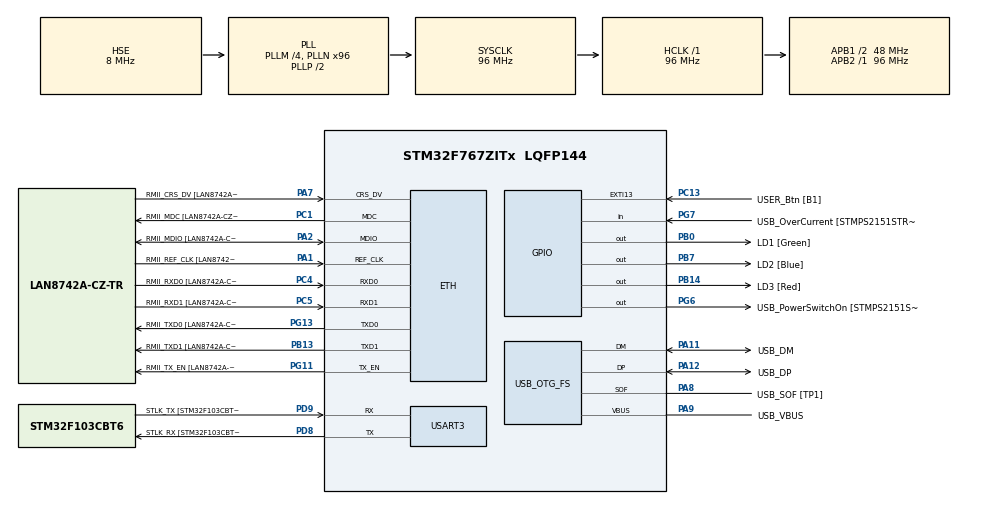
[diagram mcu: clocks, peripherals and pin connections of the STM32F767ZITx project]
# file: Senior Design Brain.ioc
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ETH.MediaInterface=HAL_ETH_RMII_MODE
ETH.PHY_Name=LAN8742A_PHY_ADDRESS
ETH.PHY_Value=0
ETH.PhyAddress=0
Mcu.Family=STM32F7
Mcu.Name=STM32F767ZITx
Mcu.Package=LQFP144
NVIC.EXTI15_10_IRQn=true\:0\:0\:false\:false\:true\:true\:true\:true
NVIC.PriorityGroup=NVIC_PRIORITYGROUP_4
PA1.GPIO_Label=RMII_REF_CLK [LAN8742A-CZ-TR_REFCLK0]
PA1.Mode=RMII
PA1.Signal=ETH_REF_CLK
PA10.GPIO_Label=USB_ID
PA10.Signal=USB_OTG_FS_ID
PA11.GPIO_Label=USB_DM
PA11.Mode=Device_Only
PA11.Signal=USB_OTG_FS_DM
PA12.GPIO_Label=USB_DP
PA12.Mode=Device_Only
PA12.Signal=USB_OTG_FS_DP
PA13.GPIO_Label=TMS
PA13.Mode=Serial_Wire
PA13.Signal=SYS_JTMS-SWDIO
PA14.GPIO_Label=TCK
PA14.Mode=Serial_Wire
PA14.Signal=SYS_JTCK-SWCLK
PA2.GPIO_Label=RMII_MDIO [LAN8742A-CZ-TR_MDIO]
PA2.Mode=RMII
PA2.Signal=ETH_MDIO
PA7.GPIO_Label=RMII_CRS_DV [LAN8742A-CZ-TR_CRS_DV]
PA7.Mode=RMII
PA7.Signal=ETH_CRS_DV
PA8.GPIO_Label=USB_SOF [TP1]
PA8.Mode=Activate_SOF_FS
PA8.Signal=USB_OTG_FS_SOF
PA9.GPIO_Label=USB_VBUS
PA9.Mode=Activate_VBUS
PA9.Signal=USB_OTG_FS_VBUS
PB0.GPIO_Label=LD1 [Green]
PB0.Signal=GPIO_Output
PB13.GPIO_Label=RMII_TXD1 [LAN8742A-CZ-TR_TXD1]
PB13.Mode=RMII
PB13.Signal=ETH_TXD1
PB14.GPIO_Label=LD3 [Red]
PB14.Signal=GPIO_Output
PB3.GPIO_Label=SWO
PB3.Signal=SYS_JTDO-SWO
PB7.GPIO_Label=LD2 [Blue]
PB7.Signal=GPIO_Output
PC1.GPIO_Label=RMII_MDC [LAN8742A-CZ-TR_MDC]
PC1.Mode=RMII
PC1.Signal=ETH_MDC
PC13.GPIO_Label=USER_Btn [B1]
PC13.GPIO_ModeDefaultEXTI=GPIO_MODE_IT_RISING_FALLING
PC13.Signal=GPXTI13
PC14/OSC32_IN.Mode=LSE-External-Oscillator
PC14/OSC32_IN.Signal=RCC_OSC32_IN
PC15/OSC32_OUT.Mode=LSE-External-Oscillator
PC15/OSC32_OUT.Signal=RCC_OSC32_OUT
PC4.GPIO_Label=RMII_RXD0 [LAN8742A-CZ-TR_RXD0]
PC4.Mode=RMII
PC4.Signal=ETH_RXD0
PC5.GPIO_Label=RMII_RXD1 [LAN8742A-CZ-TR_RXD1]
PC5.Mode=RMII
PC5.Signal=ETH_RXD1
PD8.GPIO_Label=STLK_RX [STM32F103CBT6_PA3]
PD8.Mode=Asynchronous
PD8.Signal=USART3_TX
PD9.GPIO_Label=STLK_TX [STM32F103CBT6_PA2]
PD9.Mode=Asynchronous
PD9.Signal=USART3_RX
PG11.GPIO_Label=RMII_TX_EN [LAN8742A-CZ-TR_TXEN]
PG11.Mode=RMII
PG11.Signal=ETH_TX_EN
PG13.GPIO_Label=RMII_TXD0 [LAN8742A-CZ-TR_TXD0]
PG13.Mode=RMII
PG13.Signal=ETH_TXD0
PG6.GPIO_Label=USB_PowerSwitchOn [STMPS2151STR_EN]
PG6.Signal=GPIO_Output
PG7.GPIO_Label=USB_OverCurrent [STMPS2151STR_FAULT]
PG7.Signal=GPIO_Input
PH0/OSC_IN.GPIO_Label=MCO [STM32F103CBT6_PA8]
PH0/OSC_IN.Mode=HSE-External-Clock-Source
PH0/OSC_IN.Signal=RCC_OSC_IN
PH1/OSC_OUT.Mode=HSE-External-Clock-Source
PH1/OSC_OUT.Signal=RCC_OSC_OUT
ProjectManager.HeapSize=0x200
ProjectManager.StackSize=0x400
ProjectManager.TargetToolchain=STM32CubeIDE
RCC.48MHZClocksFreq_Value=24000000
RCC.AHBFreq_Value=96000000
RCC.APB1CLKDivider=RCC_HCLK_DIV2
RCC.APB1Freq_Value=48000000
RCC.APB1TimFreq_Value=96000000
RCC.APB2Freq_Value=96000000
RCC.APB2TimFreq_Value=96000000
RCC.CortexFreq_Value=96000000
RCC.HCLKFreq_Value=96000000
RCC.HSE_VALUE=8000000
RCC.HSI_VALUE=16000000
RCC.PLLM=4
RCC.PLLMUL=RCC_PLL_MUL9
RCC.PLLN=96
RCC.PLLQ=4
RCC.PRESCALERUSB=RCC_USBCLKSOURCE_PLL_DIV1_5
RCC.SYSCLKFreq_VALUE=96000000
RCC.SYSCLKSource=RCC_SYSCLKSOURCE_PLLCLK
RCC.SYSCLKSourceVirtual=RCC_SYSCLKSOURCE_PLLCLK
RCC.USBFreq_Value=48000000
RCC.VCOOutputFreq_Value=192000000
USART3.VirtualMode-Asynchronous=VM_ASYNC
USB_OTG_FS.VirtualMode=Device_Only
board=NUCLEO-F767ZI

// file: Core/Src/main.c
/* USER CODE BEGIN Header */
/**
  ******************************************************************************
  * @file           : main.c
  * @brief          : Main program body
  ******************************************************************************
  * @attention
  *
  * Copyright (c) 2023 STMicroelectronics.
  * All rights reserved.
  *
  * This software is licensed under terms that can be found in the LICENSE file
  * in the root directory of this software component.
  * If no LICENSE file comes with this software, it is provided AS-IS.
  *
  ******************************************************************************
  */
/* USER CODE END Header */
#include "main.h"
#include "string.h"

/* USER CODE BEGIN Includes */
#include "location.h"
#include "stdio.h"
#include "test.h"

/* USER CODE END Includes */

/* USER CODE BEGIN PD */

#ifndef bool
#define bool int
#endif

#ifndef true
#define true 1
#endif

#ifndef false
#define false 0
#endif

#define BUTTONS 0
#define ALIASES 1
#define OUTPUTS 2
#define CUR_LOC 3
#define QUIT 4

//Enables scanf and printf to work
#ifdef __GNUC__
#define PUTCHAR_PROTOTYPE int __io_putchar(int ch)
#define GETCHAR_PROTOTYPE int __io_getchar(void)
#else
#define PUTCHAR_PROTOTYPE int fputc(int ch, FILE *f)
#define GETCHAR_PROTOTYPE int fgetc(FILE *f)
#endif

extern UART_HandleTypeDef huart3;

PUTCHAR_PROTOTYPE
{
  HAL_UART_Transmit(&huart3, (uint8_t *)&ch, 1, HAL_MAX_DELAY);
  return ch;
}

GETCHAR_PROTOTYPE
{
  uint8_t ch = 0;

  /* Clear the Overrun flag just before receiving the first character */
  __HAL_UART_CLEAR_OREFLAG(&huart3);

  /* Wait for reception of a character on the USART RX line and echo this
   * character on console */
  HAL_UART_Receive(&huart3, (uint8_t *)&ch, 1, HAL_MAX_DELAY);
  HAL_UART_Transmit(&huart3, (uint8_t *)&ch, 1, HAL_MAX_DELAY);
  return ch;
}

/* USER CODE END PD */

#if defined ( __ICCARM__ ) /*!< IAR Compiler */
#pragma location=0x2007c000
ETH_DMADescTypeDef  DMARxDscrTab[ETH_RX_DESC_CNT]; /* Ethernet Rx DMA Descriptors */
#pragma location=0x2007c0a0
ETH_DMADescTypeDef  DMATxDscrTab[ETH_TX_DESC_CNT]; /* Ethernet Tx DMA Descriptors */

#elif defined ( __CC_ARM )  /* MDK ARM Compiler */

__attribute__((at(0x2007c000))) ETH_DMADescTypeDef  DMARxDscrTab[ETH_RX_DESC_CNT]; /* Ethernet Rx DMA Descriptors */
__attribute__((at(0x2007c0a0))) ETH_DMADescTypeDef  DMATxDscrTab[ETH_TX_DESC_CNT]; /* Ethernet Tx DMA Descriptors */

#elif defined ( __GNUC__ ) /* GNU Compiler */
ETH_DMADescTypeDef DMARxDscrTab[ETH_RX_DESC_CNT] __attribute__((section(".RxDecripSection"))); /* Ethernet Rx DMA Descriptors */
ETH_DMADescTypeDef DMATxDscrTab[ETH_TX_DESC_CNT] __attribute__((section(".TxDecripSection")));   /* Ethernet Tx DMA Descriptors */

#endif

ETH_TxPacketConfig TxConfig;

ETH_HandleTypeDef heth;

UART_HandleTypeDef huart3;

PCD_HandleTypeDef hpcd_USB_OTG_FS;

/* USER CODE BEGIN PV */

int test_state = -1;

/* USER CODE END PV */

void SystemClock_Config(void);
static void MX_GPIO_Init(void);
static void MX_ETH_Init(void);
static void MX_USART3_UART_Init(void);
static void MX_USB_OTG_FS_PCD_Init(void);

int main(void)
{

  /* MCU Configuration--------------------------------------------------------*/

  /* Reset of all peripherals, Initializes the Flash interface and the Systick. */
  HAL_Init();

  /* USER CODE BEGIN Init */

  char ch;
  char buffer[100];
  /* USER CODE END Init */

  /* Configure the system clock */
  SystemClock_Config();

  /* Initialize all configured peripherals */
  MX_GPIO_Init();
  MX_ETH_Init();
  MX_USART3_UART_Init();
  MX_USB_OTG_FS_PCD_Init();
  /* USER CODE BEGIN 2 */

  //Enables scanf and printf to work
  setvbuf(stdin, NULL, _IONBF, 0);

  /* USER CODE END 2 */

  /* Infinite loop */
  /* USER CODE BEGIN WHILE */
  while (1)
  {

	  printf("\n\n\rWhat would you like to test?");
	  printf("\n\rType:"
			 "\n\ra for Aliases"
			 "\n\rb for Buttons"
			 "\n\rc for Current Location"
			 "\n\ro for Output"
			 "\n\rq to Quit"
			 "\n\r: ");
	  scanf("%c", &ch);
	  if(ch == 'a'){
		 strcpy(buffer, "ALIASES");
		 test_state = ALIASES;
	  }
	  else if(ch == 'b'){
		 strcpy(buffer, "BUTTONS");
		 test_state = BUTTONS;
	  }
	  else if(ch == 'c'){
		 strcpy(buffer, "CUR_LOC");
		 test_state = CUR_LOC;
	  }
	  else if(ch == 'o'){
		 strcpy(buffer, "OUTPUTS");
		 test_state = OUTPUTS;
	  }
	  else if(ch == 'q'){
		 strcpy(buffer, "QUIT");
		 test_state = QUIT;
	  }
	  else{
		 strcpy(buffer, "NONE");
		 test_state = -1;
	  }

	  printf("\n\rYou selected %s", buffer);

	  if(test_state == ALIASES){
		  do{
			  printf("\n\n\rTo test ALIASES, please type in the name of a location you would like to navigate to.");
			  printf("\n\rWe will do our best to match it to an actual building\n\r");
			  scanf("%99s", buffer);
			  test_aliasing(buffer);
			  scanf("%c", &ch);
			  printf("\n\rPress r to try again or any other key to exit: ");
			  scanf("%c", &ch);
		  }while(ch == 'r');
	  }
	  else if(test_state == BUTTONS){
		  printf("\n\n\rTo test BUTTONS, please press the user button.");
		  printf("\n\rPress any key to exit");
		  scanf("%c", &ch);
	  }
	  else if(test_state == CUR_LOC){
		  printf("\n\n\rTo test CUR_LOC, please press any key to display the current location.");
		  scanf("%c", &ch);
		  printf("\n\rYour current location is the Electrical Engineering Building");
	  }
	  else if(test_state == OUTPUTS){
		  printf("\n\n\rTo test OUTPUTS, please press any key.");
		  scanf("%c", &ch);
		  printf("\n\rNow playing sample output.");
		  test_output();
		  printf("\n\rPress any key to exit");
		  scanf("%c", &ch);
	  }
	  else if(test_state == QUIT){
		  break;
	  }
	  else{
		  printf("\n\n\rSorry, what you selected isn't an option. Please try again.");
	  }
    /* USER CODE END WHILE */

    /* USER CODE BEGIN 3 */
  }

  printf("\n\rExiting Brain Subsytem Tests\n\r");
  /* USER CODE END 3 */
}

void SystemClock_Config(void)
{
  RCC_OscInitTypeDef RCC_OscInitStruct = {0};
  RCC_ClkInitTypeDef RCC_ClkInitStruct = {0};

  /** Configure LSE Drive Capability
  */
  HAL_PWR_EnableBkUpAccess();

  /** Configure the main internal regulator output voltage
  */
  __HAL_RCC_PWR_CLK_ENABLE();
  __HAL_PWR_VOLTAGESCALING_CONFIG(PWR_REGULATOR_VOLTAGE_SCALE3);

  /** Initializes the RCC Oscillators according to the specified parameters
  * in the RCC_OscInitTypeDef structure.
  */
  RCC_OscInitStruct.OscillatorType = RCC_OSCILLATORTYPE_HSE;
  RCC_OscInitStruct.HSEState = RCC_HSE_BYPASS;
  RCC_OscInitStruct.PLL.PLLState = RCC_PLL_ON;
  RCC_OscInitStruct.PLL.PLLSource = RCC_PLLSOURCE_HSE;
  RCC_OscInitStruct.PLL.PLLM = 4;
  RCC_OscInitStruct.PLL.PLLN = 96;
  RCC_OscInitStruct.PLL.PLLP = RCC_PLLP_DIV2;
  RCC_OscInitStruct.PLL.PLLQ = 4;
  RCC_OscInitStruct.PLL.PLLR = 2;
  if (HAL_RCC_OscConfig(&RCC_OscInitStruct) != HAL_OK)
  {
    Error_Handler();
  }

  /** Activate the Over-Drive mode
  */
  if (HAL_PWREx_EnableOverDrive() != HAL_OK)
  {
    Error_Handler();
  }

  /** Initializes the CPU, AHB and APB buses clocks
  */
  RCC_ClkInitStruct.ClockType = RCC_CLOCKTYPE_HCLK|RCC_CLOCKTYPE_SYSCLK
                              |RCC_CLOCKTYPE_PCLK1|RCC_CLOCKTYPE_PCLK2;
  RCC_ClkInitStruct.SYSCLKSource = RCC_SYSCLKSOURCE_PLLCLK;
  RCC_ClkInitStruct.AHBCLKDivider = RCC_SYSCLK_DIV1;
  RCC_ClkInitStruct.APB1CLKDivider = RCC_HCLK_DIV2;
  RCC_ClkInitStruct.APB2CLKDivider = RCC_HCLK_DIV1;

  if (HAL_RCC_ClockConfig(&RCC_ClkInitStruct, FLASH_LATENCY_3) != HAL_OK)
  {
    Error_Handler();
  }
}

static void MX_ETH_Init(void)
{

   static uint8_t MACAddr[6];

  heth.Instance = ETH;
  MACAddr[0] = 0x00;
  MACAddr[1] = 0x80;
  MACAddr[2] = 0xE1;
  MACAddr[3] = 0x00;
  MACAddr[4] = 0x00;
  MACAddr[5] = 0x00;
  heth.Init.MACAddr = &MACAddr[0];
  heth.Init.MediaInterface = HAL_ETH_RMII_MODE;
  heth.Init.TxDesc = DMATxDscrTab;
  heth.Init.RxDesc = DMARxDscrTab;
  heth.Init.RxBuffLen = 1524;

  if (HAL_ETH_Init(&heth) != HAL_OK)
  {
    Error_Handler();
  }

  memset(&TxConfig, 0 , sizeof(ETH_TxPacketConfig));
  TxConfig.Attributes = ETH_TX_PACKETS_FEATURES_CSUM | ETH_TX_PACKETS_FEATURES_CRCPAD;
  TxConfig.ChecksumCtrl = ETH_CHECKSUM_IPHDR_PAYLOAD_INSERT_PHDR_CALC;
  TxConfig.CRCPadCtrl = ETH_CRC_PAD_INSERT;

}

static void MX_USART3_UART_Init(void)
{

  huart3.Instance = USART3;
  huart3.Init.BaudRate = 115200;
  huart3.Init.WordLength = UART_WORDLENGTH_8B;
  huart3.Init.StopBits = UART_STOPBITS_1;
  huart3.Init.Parity = UART_PARITY_NONE;
  huart3.Init.Mode = UART_MODE_TX_RX;
  huart3.Init.HwFlowCtl = UART_HWCONTROL_NONE;
  huart3.Init.OverSampling = UART_OVERSAMPLING_16;
  huart3.Init.OneBitSampling = UART_ONE_BIT_SAMPLE_DISABLE;
  huart3.AdvancedInit.AdvFeatureInit = UART_ADVFEATURE_NO_INIT;
  if (HAL_UART_Init(&huart3) != HAL_OK)
  {
    Error_Handler();
  }

}

static void MX_USB_OTG_FS_PCD_Init(void)
{

  hpcd_USB_OTG_FS.Instance = USB_OTG_FS;
  hpcd_USB_OTG_FS.Init.dev_endpoints = 6;
  hpcd_USB_OTG_FS.Init.speed = PCD_SPEED_FULL;
  hpcd_USB_OTG_FS.Init.dma_enable = DISABLE;
  hpcd_USB_OTG_FS.Init.phy_itface = PCD_PHY_EMBEDDED;
  hpcd_USB_OTG_FS.Init.Sof_enable = ENABLE;
  hpcd_USB_OTG_FS.Init.low_power_enable = DISABLE;
  hpcd_USB_OTG_FS.Init.lpm_enable = DISABLE;
  hpcd_USB_OTG_FS.Init.vbus_sensing_enable = ENABLE;
  hpcd_USB_OTG_FS.Init.use_dedicated_ep1 = DISABLE;
  if (HAL_PCD_Init(&hpcd_USB_OTG_FS) != HAL_OK)
  {
    Error_Handler();
  }

}

static void MX_GPIO_Init(void)
{
  GPIO_InitTypeDef GPIO_InitStruct = {0};

  /* GPIO Ports Clock Enable */
  __HAL_RCC_GPIOC_CLK_ENABLE();
  __HAL_RCC_GPIOH_CLK_ENABLE();
  __HAL_RCC_GPIOA_CLK_ENABLE();
  __HAL_RCC_GPIOB_CLK_ENABLE();
  __HAL_RCC_GPIOD_CLK_ENABLE();
  __HAL_RCC_GPIOG_CLK_ENABLE();

  /*Configure GPIO pin Output Level */
  HAL_GPIO_WritePin(GPIOB, LD1_Pin|LD3_Pin|LD2_Pin, GPIO_PIN_RESET);

  /*Configure GPIO pin Output Level */
  HAL_GPIO_WritePin(USB_PowerSwitchOn_GPIO_Port, USB_PowerSwitchOn_Pin, GPIO_PIN_RESET);

  /*Configure GPIO pin : USER_Btn_Pin */
  GPIO_InitStruct.Pin = USER_Btn_Pin;
  GPIO_InitStruct.Mode = GPIO_MODE_IT_RISING_FALLING;
  GPIO_InitStruct.Pull = GPIO_NOPULL;
  HAL_GPIO_Init(USER_Btn_GPIO_Port, &GPIO_InitStruct);

  /*Configure GPIO pins : LD1_Pin LD3_Pin LD2_Pin */
  GPIO_InitStruct.Pin = LD1_Pin|LD3_Pin|LD2_Pin;
  GPIO_InitStruct.Mode = GPIO_MODE_OUTPUT_PP;
  GPIO_InitStruct.Pull = GPIO_NOPULL;
  GPIO_InitStruct.Speed = GPIO_SPEED_FREQ_LOW;
  HAL_GPIO_Init(GPIOB, &GPIO_InitStruct);

  /*Configure GPIO pin : USB_PowerSwitchOn_Pin */
  GPIO_InitStruct.Pin = USB_PowerSwitchOn_Pin;
  GPIO_InitStruct.Mode = GPIO_MODE_OUTPUT_PP;
  GPIO_InitStruct.Pull = GPIO_NOPULL;
  GPIO_InitStruct.Speed = GPIO_SPEED_FREQ_LOW;
  HAL_GPIO_Init(USB_PowerSwitchOn_GPIO_Port, &GPIO_InitStruct);

  /*Configure GPIO pin : USB_OverCurrent_Pin */
  GPIO_InitStruct.Pin = USB_OverCurrent_Pin;
  GPIO_InitStruct.Mode = GPIO_MODE_INPUT;
  GPIO_InitStruct.Pull = GPIO_NOPULL;
  HAL_GPIO_Init(USB_OverCurrent_GPIO_Port, &GPIO_InitStruct);

  /* EXTI interrupt init*/
  HAL_NVIC_SetPriority(EXTI15_10_IRQn, 0, 0);
  HAL_NVIC_EnableIRQ(EXTI15_10_IRQn);

}

/* USER CODE BEGIN 4 */

void HAL_GPIO_EXTI_Callback(uint16_t GPIO_Pin)
{
	if(test_state == BUTTONS && GPIO_Pin == GPIO_PIN_13)
	{
	  if(HAL_GPIO_ReadPin(GPIOC, GPIO_PIN_13) == GPIO_PIN_SET){
		  printf("\nProcessing Input");
		  HAL_GPIO_WritePin(LD2_GPIO_Port, LD2_Pin, GPIO_PIN_SET);
	  }
	  else{
		  printf("\r\nListening to Input");
		  HAL_GPIO_WritePin(LD2_GPIO_Port, LD2_Pin, GPIO_PIN_RESET);
	  }
	}
}

/* USER CODE END 4 */

void Error_Handler(void)
{
  __disable_irq();
  while (1)
  {
  }
}
